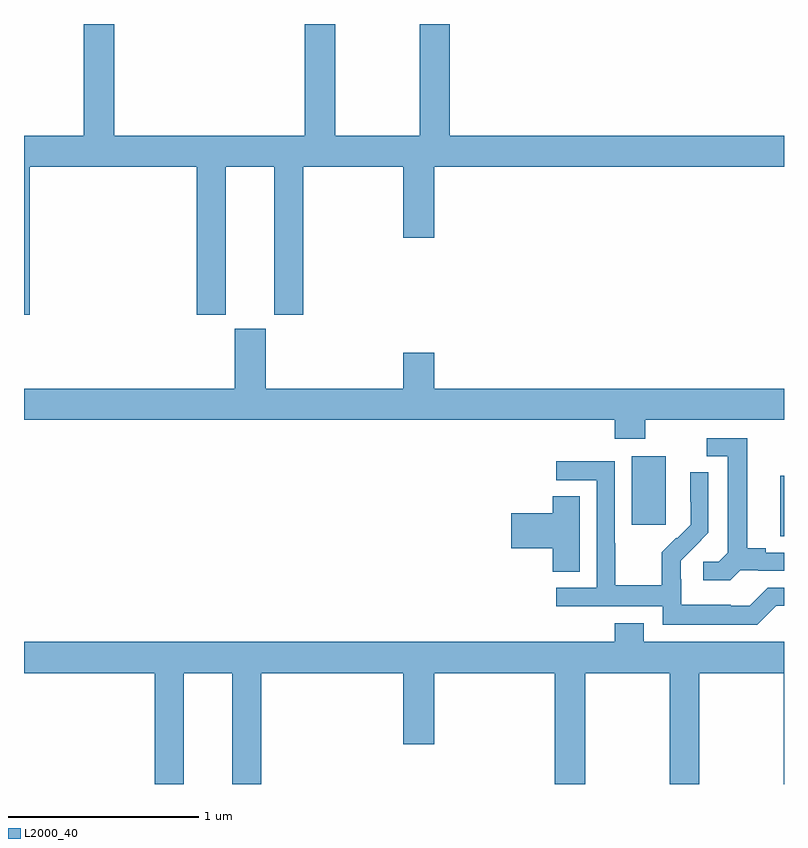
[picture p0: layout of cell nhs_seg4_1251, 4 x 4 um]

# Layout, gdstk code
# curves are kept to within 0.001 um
import gdstk
lib = gdstk.Library(unit=1e-6, precision=1e-09)
def R(c, l, rs):  # rectangles x0, y0, x1, y1
    for r in rs: c.add(gdstk.rectangle(r[:2], r[2:], *l))
def P(c, l, *ps):  # polygons
    for p in ps: c.add(gdstk.Polygon(p, *l))
L2000_40 = (2000, 40)

nhs_seg4_1251 = lib.new_cell('nhs_seg4_1251')
R(nhs_seg4_1251, L2000_40, [(178.979,800.203,179,800.523), (178.199,800.265,178.378,800.626)])
P(nhs_seg4_1251, L2000_40, [(175.475,802.9),(175.315,802.9),(175.315,802.312),(175,802.312),(175,801.369),(175.031,801.369),(175.031,802.148),(175.91,802.148),(175.91,801.369),(176.062,801.369),(176.062,802.148),(176.318,802.148),(176.318,801.369),(176.471,801.369),(176.471,802.148),(176.996,802.148),(176.996,801.774),(177.16,801.774),(177.16,802.148),(179,802.148),(179,802.312),(177.242,802.312),(177.242,802.9),(177.082,802.9),(177.082,802.312),(176.637,802.312),(176.637,802.9),(176.477,802.9),(176.477,802.312),(175.475,802.312)],
  [(178.269,800.816),(179,800.816),(179,800.98),(177.16,800.98),(177.16,801.169),(176.996,801.169),(176.996,800.98),(176.272,800.98),(176.272,801.297),(176.108,801.297),(176.108,800.98),(175,800.98),(175,800.816),(178.109,800.816),(178.109,800.717),(178.269,800.717)],
  [(178.77,800.025),(178.864,800.025),(178.864,800.022),(179,800.022),(179,800.118),(178.903,800.118),(178.903,800.141),(178.807,800.141),(178.807,800.721),(178.593,800.721),(178.593,800.625),(178.703,800.625),(178.703,800.117),(178.656,800.07),(178.575,800.07),(178.575,799.973),(178.718,799.973)],
  [(178.959,799.839),(179,799.839),(179,799.932),(178.914,799.932),(178.821,799.839),(178.721,799.839),(178.721,799.843),(178.458,799.843),(178.458,799.977),(178.456,799.977),(178.456,800.074),(178.602,800.222),(178.602,800.54),(178.506,800.54),(178.506,800.386),(178.508,800.386),(178.508,800.264),(178.437,800.193),(178.434,800.196),(178.357,800.119),(178.357,799.945),(178.113,799.945),(178.113,800.168),(178.11,800.168),(178.11,800.598),(177.801,800.598),(177.801,800.499),(178.014,800.499),(178.014,799.932),(177.801,799.932),(177.801,799.836),(178.362,799.836),(178.362,799.739),(178.859,799.739)],
  [(177.925,800.414),(177.782,800.414),(177.782,800.324),(177.564,800.324),(177.564,800.141),(177.782,800.141),(177.782,800.017),(177.925,800.017)],
  [(175.84,799.484),(176.096,799.484),(176.096,798.9),(176.249,798.9),(176.249,799.484),(176.996,799.484),(176.996,799.11),(177.16,799.11),(177.16,799.484),(177.794,799.484),(177.794,798.9),(177.954,798.9),(177.954,799.484),(178.399,799.484),(178.399,798.9),(178.554,798.9),(178.554,799.484),(178.999,799.484),(178.999,798.9),(179,798.9),(179,799.648),(178.261,799.648),(178.261,799.747),(178.109,799.747),(178.109,799.648),(175,799.648),(175,799.484),(175.688,799.484),(175.688,798.9),(175.84,798.9)])

lib.write_gds('nhs_seg4_1251.gds')
